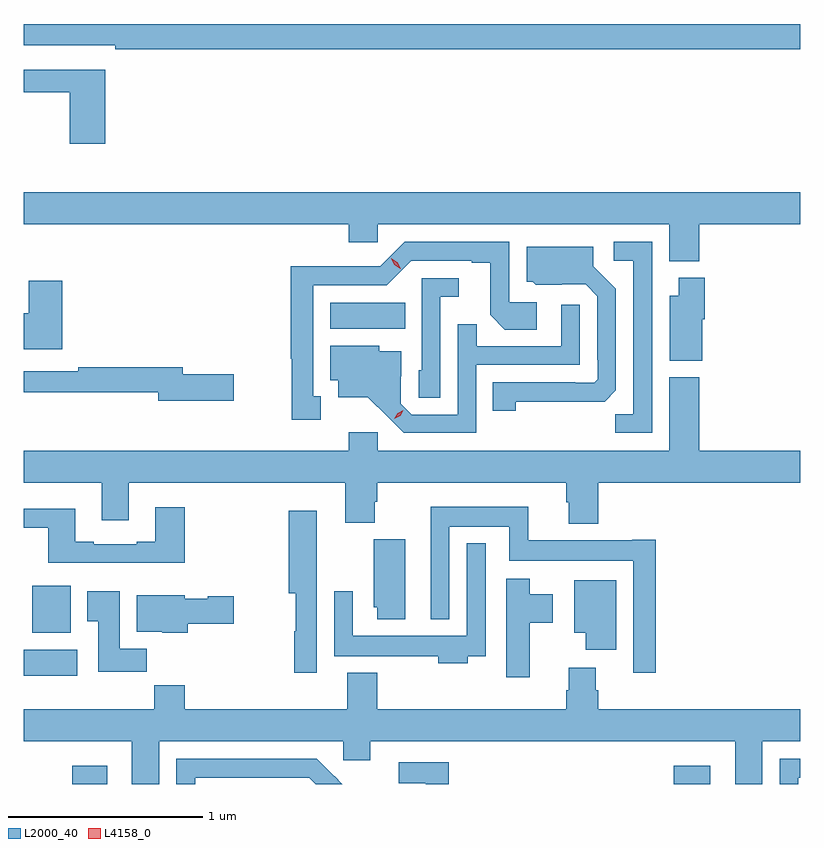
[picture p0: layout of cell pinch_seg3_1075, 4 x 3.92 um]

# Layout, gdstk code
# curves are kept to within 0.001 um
import gdstk
lib = gdstk.Library(unit=1e-6, precision=1e-09)
def R(c, l, rs):  # rectangles x0, y0, x1, y1
    for r in rs: c.add(gdstk.rectangle(r[:2], r[2:], *l))
def P(c, l, *ps):  # polygons
    for p in ps: c.add(gdstk.Polygon(p, *l))
L2000_40 = (2000, 40)
L4158_0 = (4158, 0)

pinch_seg3_1075 = lib.new_cell('pinch_seg3_1075')
R(pinch_seg3_1075, L2000_40, [(322.965,675.387,323.146,675.481), (326.065,675.387,326.254,675.481), (322.716,675.944,322.99,676.078), (322.76,676.166,322.957,676.408), (324.296,677.732,324.68,677.866)])
P(pinch_seg3_1075, L2000_40, [(326.716,679.303),(322.716,679.303),(322.716,679.194),(323.188,679.194),(323.188,679.174),(326.716,679.174)],
  [(323.135,679.068),(322.716,679.068),(322.716,678.952),(322.952,678.952),(322.952,678.687),(323.135,678.687)],
  [(326.195,678.272),(326.716,678.272),(326.716,678.436),(322.716,678.436),(322.716,678.272),(324.389,678.272),(324.389,678.179),(324.54,678.179),(324.54,678.272),(326.042,678.272),(326.042,678.08),(326.195,678.08)],
  [(324.247,677.385),(324.208,677.385),(324.208,677.958),(324.585,677.958),(324.711,678.084),(325.025,678.084),(325.025,678.072),(325.119,678.072),(325.119,677.804),(325.195,677.728),(325.36,677.728),(325.36,677.868),(325.218,677.868),(325.218,678.18),(324.678,678.18),(324.552,678.054),(324.33,678.054),(324.33,678.056),(324.09,678.056),(324.09,677.577),(324.097,677.577),(324.097,677.265),(324.247,677.265)],
  [(325.953,678.18),(325.755,678.18),(325.755,678.084),(325.857,678.084),(325.857,677.291),(325.762,677.291),(325.762,677.196),(325.953,677.196)],
  [(325.251,677.356),(325.708,677.357),(325.767,677.416),(325.767,677.938),(325.651,678.054),(325.651,678.154),(325.307,678.154),(325.307,677.976),(325.338,677.976),(325.354,677.96),(325.611,677.961),(325.671,677.901),(325.671,677.572),(325.674,677.572),(325.674,677.472),(325.656,677.454),(325.556,677.454),(325.556,677.457),(325.132,677.457),(325.132,677.31),(325.251,677.31)],
  [(326.212,677.781),(326.225,677.781),(326.225,677.995),(326.09,677.995),(326.09,677.902),(326.045,677.902),(326.045,677.567),(326.212,677.567)],
  [(324.861,677.897),(324.958,677.897),(324.958,677.994),(324.765,677.994),(324.765,677.52),(324.75,677.52),(324.75,677.377),(324.861,677.377)],
  [(322.913,677.98),(322.742,677.98),(322.742,677.812),(322.716,677.812),(322.716,677.627),(322.913,677.627)],
  [(325.047,677.547),(325.581,677.547),(325.581,677.857),(325.485,677.857),(325.485,677.643),(325.049,677.643),(325.049,677.756),(324.951,677.756),(324.951,677.289),(324.714,677.289),(324.657,677.346),(324.657,677.488),(324.661,677.488),(324.661,677.617),(324.546,677.617),(324.546,677.644),(324.296,677.644),(324.296,677.468),(324.335,677.468),(324.335,677.381),(324.487,677.381),(324.674,677.196),(325.047,677.196)],
  [(323.797,677.498),(323.536,677.498),(323.536,677.534),(322.996,677.534),(322.996,677.514),(322.716,677.514),(322.716,677.406),(323.408,677.406),(323.408,677.363),(323.797,677.363)],
  [(324.389,677.104),(322.716,677.104),(322.716,676.94),(323.117,676.94),(323.117,676.746),(323.257,676.746),(323.257,676.94),(324.371,676.94),(324.371,676.732),(324.523,676.732),(324.523,676.841),(324.536,676.841),(324.536,676.94),(325.511,676.94),(325.511,676.839),(325.523,676.839),(325.523,676.727),(325.676,676.727),(325.676,676.94),(326.716,676.94),(326.716,677.104),(326.195,677.104),(326.195,677.482),(326.042,677.482),(326.042,677.104),(324.54,677.104),(324.54,677.2),(324.389,677.2)],
  [(325.973,676.645),(325.85,676.645),(325.85,676.642),(325.316,676.642),(325.316,676.816),(324.812,676.816),(324.812,676.235),(324.909,676.235),(324.909,676.712),(325.218,676.712),(325.218,676.538),(325.857,676.538),(325.857,675.96),(325.973,675.96)],
  [(323.546,676.813),(323.393,676.813),(323.393,676.636),(323.297,676.636),(323.297,676.623),(323.077,676.623),(323.077,676.636),(322.981,676.636),(322.981,676.804),(322.716,676.804),(322.716,676.707),(322.841,676.707),(322.841,676.526),(323.546,676.526)],
  [(324.225,676.474),(324.226,676.474),(324.226,676.795),(324.08,676.795),(324.08,676.37),(324.117,676.37),(324.117,676.173),(324.109,676.173),(324.109,675.96),(324.225,675.96)],
  [(324.682,676.647),(324.518,676.647),(324.518,676.299),(324.536,676.299),(324.536,676.236),(324.682,676.236)],
  [(325.003,676.044),(325.095,676.044),(325.095,676.627),(324.999,676.627),(324.999,676.15),(324.411,676.15),(324.411,676.381),(324.315,676.381),(324.315,676.046),(324.619,676.046),(324.619,676.044),(324.851,676.044),(324.851,676.01),(325.003,676.01)],
  [(325.324,676.219),(325.441,676.219),(325.441,676.366),(325.324,676.366),(325.324,676.444),(325.202,676.444),(325.202,675.936),(325.324,675.936)],
  [(325.768,676.438),(325.553,676.438),(325.553,676.166),(325.61,676.166),(325.61,676.08),(325.768,676.08)],
  [(323.348,676.084),(323.209,676.084),(323.209,676.381),(323.042,676.381),(323.042,676.225),(323.099,676.225),(323.099,675.966),(323.348,675.966)],
  [(323.561,676.213),(323.797,676.213),(323.797,676.355),(323.664,676.355),(323.664,676.342),(323.544,676.342),(323.544,676.36),(323.297,676.36),(323.297,676.172),(323.43,676.172),(323.43,676.166),(323.561,676.166)],
  [(323.546,675.896),(323.389,675.896),(323.389,675.772),(322.716,675.772),(322.716,675.608),(323.273,675.608),(323.273,675.387),(323.413,675.387),(323.413,675.608),(324.363,675.608),(324.363,675.51),(324.502,675.51),(324.502,675.608),(326.381,675.608),(326.381,675.387),(326.521,675.387),(326.521,675.608),(326.716,675.608),(326.716,675.772),(325.676,675.772),(325.676,675.87),(325.663,675.87),(325.663,675.985),(325.523,675.985),(325.523,675.87),(325.511,675.87),(325.511,675.772),(324.536,675.772),(324.536,675.961),(324.383,675.961),(324.383,675.772),(323.546,675.772)],
  [(323.599,675.42),(324.187,675.42),(324.22,675.387),(324.357,675.387),(324.318,675.426),(324.317,675.425),(324.226,675.516),(323.502,675.516),(323.502,675.387),(323.599,675.387)],
  [(326.707,675.42),(326.716,675.42),(326.716,675.516),(326.61,675.516),(326.61,675.387),(326.707,675.387)],
  [(324.905,675.498),(324.648,675.498),(324.648,675.39),(324.788,675.39),(324.788,675.387),(324.905,675.387)])
P(pinch_seg3_1075, L4158_0, [(324.625,677.268),(324.625,677.269),(324.642,677.298),(324.672,677.314),(324.672,677.314),(324.672,677.313),(324.656,677.284),(324.625,677.268)],
  [(324.656,678.043),(324.625,678.062),(324.608,678.095),(324.608,678.095),(324.608,678.095),(324.64,678.076),(324.657,678.043),(324.657,678.043)])

lib.write_gds('pinch_seg3_1075.gds')
